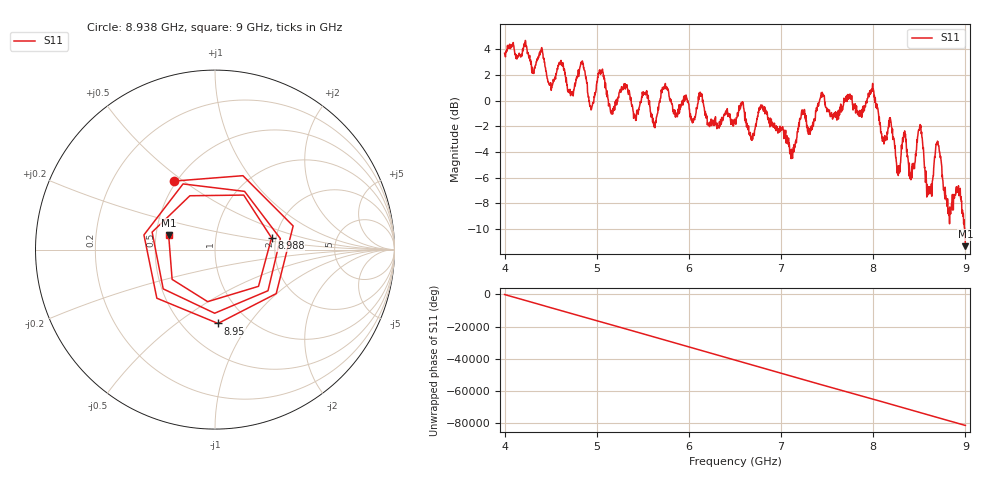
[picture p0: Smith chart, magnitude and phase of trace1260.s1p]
! Created with skrf 1.8.0 (http://scikit-rf.org).
# Hz S RI R 50.0
!freq ReS11 ImS11
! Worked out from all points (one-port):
!   1601 points, 4 GHz to 9 GHz, reference 50 ohm
!   lowest |S11| = -11.3 dB at 9 GHz (marker M1), VSWR 1.74, Z = 29.1 + j5.12 ohm
!   |S11| at or under -10 dB: 8.991125 GHz to end of sweep
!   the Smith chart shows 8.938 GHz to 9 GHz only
!   S11 on the Smith chart (normalised r, x): 8.938 GHz: 0.49, +0.46; 8.95 GHz: 0.73, -0.72; 8.988 GHz: 1.89, +0.28; 9 GHz: 0.58, +0.10
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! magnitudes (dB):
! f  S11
! 4 GHz  3.7
! 4.625 GHz  2.9
! 4.722 GHz  0.7
! 4.847 GHz  3.0
! 4.941 GHz  -0.7
! 5.041 GHz  2.0
! 5.153 GHz  -0.9
! 5.25 GHz  0.8
! 5.875 GHz  -1.3
! 6.5 GHz  -1.8
! 6.684 GHz  -3.1
! 6.797 GHz  -0.4
! 7.125 GHz  -4.5
! 7.231 GHz  -1.1
! 7.75 GHz  0.1
! 7.988 GHz  0.7
! 8.266 GHz  -5.1
! 8.331 GHz  -2.6
! 8.375 GHz  -4.4
! 8.425 GHz  -4.9
! 8.506 GHz  -2.0
! 8.603 GHz  -6.7
! 8.697 GHz  -3.2
! 8.819 GHz  -8.7
! 8.938 GHz  -7.1
! 8.95 GHz  -7.7
! 8.988 GHz  -9.9
! 9 GHz  -11.3
